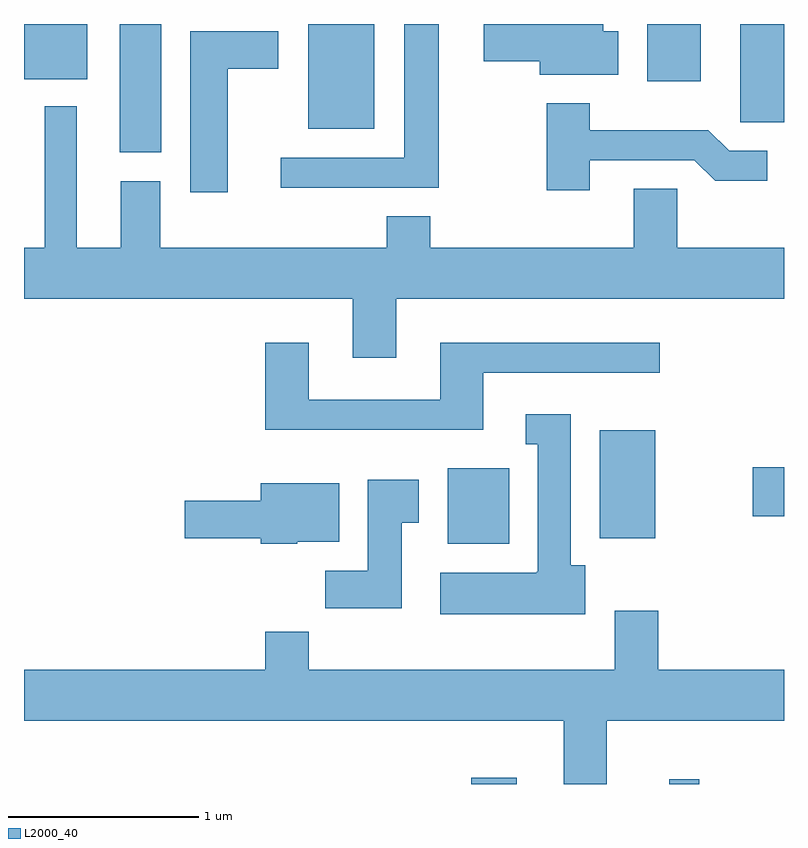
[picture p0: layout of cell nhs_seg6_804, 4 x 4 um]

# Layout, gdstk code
import gdstk
lib = gdstk.Library(unit=1e-6, precision=1e-09)
def R(c, l, rs):  # rectangles x0, y0, x1, y1
    for r in rs: c.add(gdstk.rectangle(r[:2], r[2:], *l))
def P(c, l, *ps):  # polygons
    for p in ps: c.add(gdstk.Polygon(p, *l))
L2000_40 = (2000, 40)

nhs_seg6_804 = lib.new_cell('nhs_seg6_804')
R(nhs_seg6_804, L2000_40, [(211.966,1534.162,212.204,1534.194), (213.006,1534.162,213.164,1534.188), (211.841,1535.426,212.164,1535.824), (212.641,1535.456,212.934,1536.024), (213.446,1535.571,213.611,1535.829), (210.116,1537.486,210.334,1538.162), (211.106,1537.611,211.454,1538.162), (213.381,1537.646,213.611,1538.162), (212.891,1537.861,213.174,1538.162), (209.611,1537.871,209.944,1538.162)])
P(nhs_seg6_804, L2000_40, [(211.794,1538.162),(211.611,1538.162),(211.611,1537.459),(210.963,1537.459),(210.963,1537.301),(211.794,1537.301)],
  [(212.739,1538.124),(212.659,1538.124),(212.659,1538.162),(212.031,1538.162),(212.031,1537.966),(212.326,1537.966),(212.326,1537.896),(212.739,1537.896)],
  [(210.684,1537.926),(210.949,1537.926),(210.949,1538.124),(210.486,1538.124),(210.486,1537.276),(210.684,1537.276)],
  [(212.589,1537.446),(213.139,1537.446),(213.249,1537.336),(213.523,1537.336),(213.523,1537.494),(213.322,1537.494),(213.212,1537.604),(212.589,1537.604),(212.589,1537.744),(212.361,1537.744),(212.361,1537.286),(212.589,1537.286)],
  [(211.569,1536.716),(213.611,1536.716),(213.611,1536.984),(213.049,1536.984),(213.049,1537.294),(212.821,1537.294),(212.821,1536.984),(211.749,1536.984),(211.749,1537.149),(211.521,1537.149),(211.521,1536.984),(210.329,1536.984),(210.329,1537.334),(210.121,1537.334),(210.121,1536.984),(209.889,1536.984),(209.889,1537.728),(209.721,1537.728),(209.721,1536.984),(209.611,1536.984),(209.611,1536.716),(211.341,1536.716),(211.341,1536.406),(211.569,1536.406)],
  [(212.029,1536.326),(212.958,1536.326),(212.958,1536.484),(211.801,1536.484),(211.801,1536.184),(211.109,1536.184),(211.109,1536.484),(210.881,1536.484),(210.881,1536.026),(212.029,1536.026)],
  [(212.564,1535.314),(212.489,1535.314),(212.489,1536.109),(212.253,1536.109),(212.253,1535.951),(212.316,1535.951),(212.316,1535.28),(212.31,1535.28),(212.31,1535.274),(211.801,1535.274),(211.801,1535.056),(212.564,1535.056)],
  [(211.599,1535.536),(211.689,1535.536),(211.689,1535.764),(211.421,1535.764),(211.421,1535.284),(211.196,1535.284),(211.196,1535.086),(211.599,1535.086)],
  [(211.05,1535.436),(211.269,1535.436),(211.269,1535.744),(210.856,1535.744),(210.856,1535.654),(210.456,1535.654),(210.456,1535.456),(210.856,1535.456),(210.856,1535.426),(211.05,1535.426)],
  [(212.679,1534.496),(213.611,1534.496),(213.611,1534.764),(212.949,1534.764),(212.949,1535.074),(212.721,1535.074),(212.721,1534.764),(211.109,1534.764),(211.109,1534.964),(210.881,1534.964),(210.881,1534.764),(209.611,1534.764),(209.611,1534.496),(212.451,1534.496),(212.451,1534.162),(212.679,1534.162)])

lib.write_gds('nhs_seg6_804.gds')
